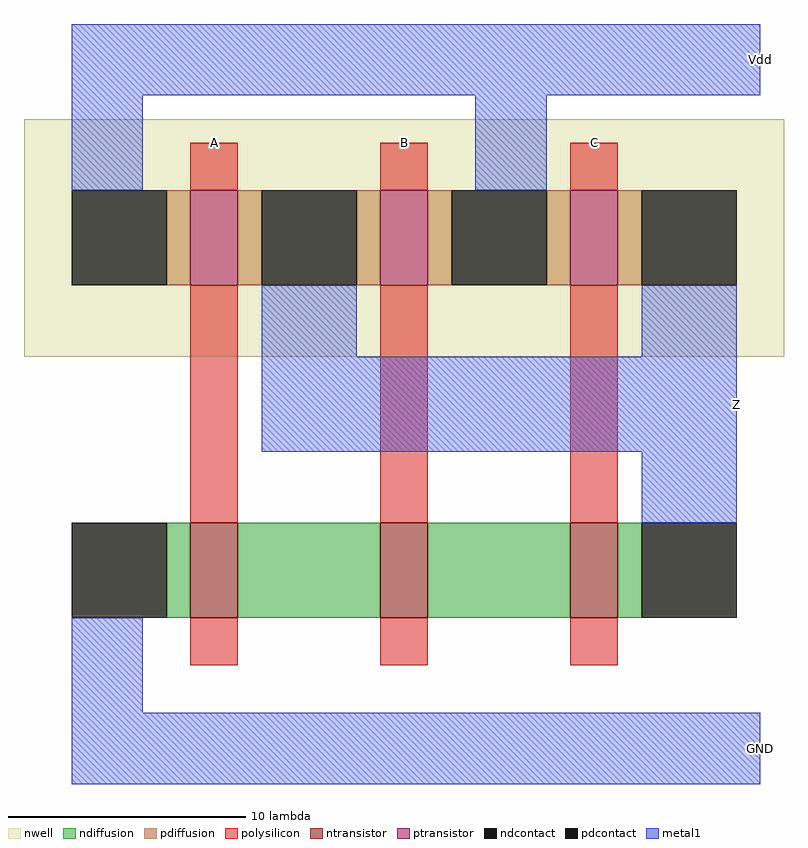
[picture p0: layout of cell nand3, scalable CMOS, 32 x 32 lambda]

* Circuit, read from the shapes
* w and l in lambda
.subckt nand3 A B C GND Vdd Z
M1 n1 A GND VSUBS nfet w=4 l=2
M2 n2 B n1 VSUBS nfet w=4 l=2
M3 Z C n2 VSUBS nfet w=4 l=2
M4 Z A Vdd n3 pfet w=4 l=2
M5 Vdd B Z n3 pfet w=4 l=2
M6 Z C Vdd n3 pfet w=4 l=2
.ends

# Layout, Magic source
magic
tech scmos
<< nwell >>
rect -8 0 24 10
<< polysilicon >>
rect -1 7 1 9
rect 7 7 9 9
rect 15 7 17 9
rect -1 -7 1 3
rect 7 -7 9 3
rect 15 -7 17 3
rect -1 -13 1 -11
rect 7 -13 9 -11
rect 15 -13 17 -11
<< ndiffusion >>
rect -2 -11 -1 -7
rect 1 -11 7 -7
rect 9 -11 15 -7
rect 17 -11 18 -7
<< pdiffusion >>
rect -2 3 -1 7
rect 1 3 2 7
rect 6 3 7 7
rect 9 3 10 7
rect 14 3 15 7
rect 17 3 18 7
<< metal1 >>
rect -6 11 23 14
rect -6 7 -3 11
rect 11 7 14 11
rect 2 0 6 3
rect 18 0 22 3
rect 2 -4 22 0
rect 18 -7 22 -4
rect -6 -15 -3 -11
rect -6 -18 23 -15
<< ntransistor >>
rect -1 -11 1 -7
rect 7 -11 9 -7
rect 15 -11 17 -7
<< ptransistor >>
rect -1 3 1 7
rect 7 3 9 7
rect 15 3 17 7
<< ndcontact >>
rect -6 -11 -2 -7
rect 18 -11 22 -7
<< pdcontact >>
rect -6 3 -2 7
rect 2 3 6 7
rect 10 3 14 7
rect 18 3 22 7
<< labels >>
rlabel polysilicon -1 9 1 9 1 A
rlabel polysilicon 7 9 9 9 1 B
rlabel polysilicon 15 9 17 9 1 C
rlabel metal1 22 -4 22 0 3 Z
rlabel metal1 23 -18 23 -15 8 GND
rlabel metal1 23 11 23 14 6 Vdd
<< end >>
